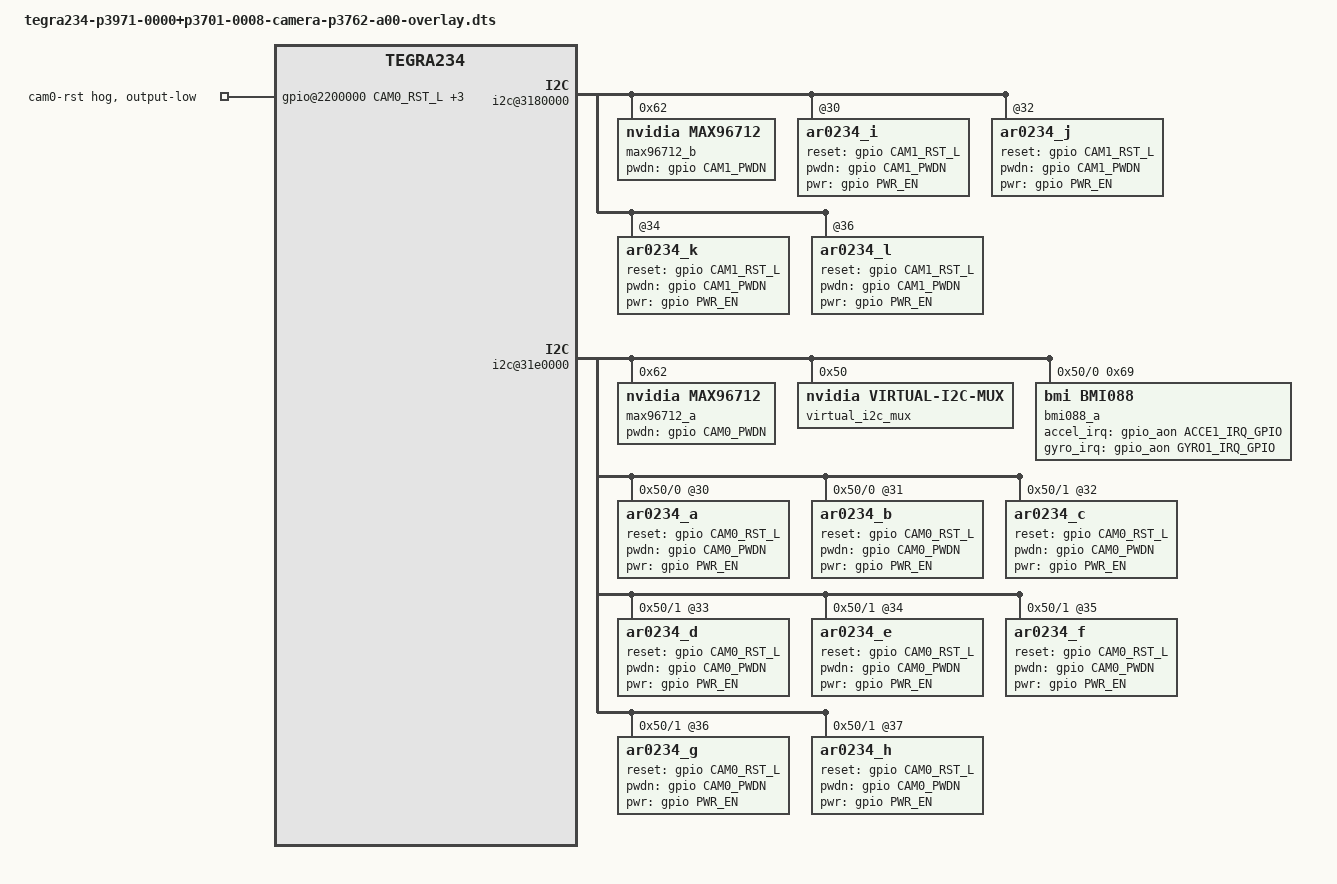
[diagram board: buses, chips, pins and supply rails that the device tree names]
// SPDX-License-Identifier: GPL-2.0-only
// SPDX-FileCopyrightText: Copyright (c) 2024, NVIDIA CORPORATION & AFFILIATES. All rights reserved.

/dts-v1/;
/plugin/;

#include "dt-bindings/gpio/tegra234-gpio.h"
#include "dt-bindings/clock/tegra234-clock.h"
#include "tegra234-camera-p3762-a00.dtsi"

/* camera control gpio definitions */
#define CAM0_RST_L      TEGRA234_MAIN_GPIO(H, 3)
#define CAM0_PWDN       TEGRA234_MAIN_GPIO(E, 6)
#define CAM1_RST_L      TEGRA234_MAIN_GPIO(AC, 1)
#define CAM1_PWDN       TEGRA234_MAIN_GPIO(AC, 0)
#define PWR_EN      	TEGRA234_MAIN_GPIO(AC, 7)
#define GYRO1_IRQ_GPIO  TEGRA234_AON_GPIO(CC, 1)
#define ACCE1_IRQ_GPIO  TEGRA234_AON_GPIO(CC, 0)

/ {
	overlay-name = "Jetson Camera Hawk-Owl p3762 module";
	jetson-header-name = "Jetson AGX CSI Connector";
	compatible = "nvidia,p3971-0000+p3701-0008";

	fragment-camera-hawk-owl@0 {
		target-path = "/";
		__overlay__ {
			bus@0 {
				/* set camera gpio direction to output */
				gpio@2200000 {
					camera-control-output-low {
						gpio-hog;
						output-low;
						gpios = <CAM0_RST_L 0 CAM0_PWDN 0
								CAM1_RST_L 0 CAM1_PWDN 0>;
						label = "cam0-rst", "cam0-pwdn",
								"cam1-rst", "cam1-pwdn";
					};
				};
				i2c@3180000 {
					max96712_b@62 {
						compatible = "nvidia,max96712";
						reg = <0x62>;
						channel = "b";
						pwdn-gpios = <&gpio CAM1_PWDN GPIO_ACTIVE_HIGH>;
						status = "okay";
					};
					ar0234_i@30 {
						status = "okay";
						def-addr = <0x18>;
						/* Define any required hw resources needed by driver */
						/* ie. clocks, io pins, power sources */
						clocks = <&bpmp TEGRA234_CLK_EXTPERIPH1>,
								<&bpmp TEGRA234_CLK_EXTPERIPH1>;
						clock-names = "extperiph1", "pllp_grtba";
						mclk = "extperiph1";
						channel = "b";
						has-eeprom;
						eeprom-addr = <0x38>;
						reset-gpios = <&gpio CAM1_RST_L GPIO_ACTIVE_HIGH>;
						pwdn-gpios = <&gpio CAM1_PWDN GPIO_ACTIVE_HIGH>;
						pwr-gpios = <&gpio PWR_EN GPIO_ACTIVE_HIGH>;
					};
					ar0234_j@32 {
						status = "okay";
						def-addr = <0x18>;
						/* Define any required hw resources needed by driver */
						/* ie. clocks, io pins, power sources */
						clocks = <&bpmp TEGRA234_CLK_EXTPERIPH1>,
								<&bpmp TEGRA234_CLK_EXTPERIPH1>;
						clock-names = "extperiph1", "pllp_grtba";
						mclk = "extperiph1";
						channel = "b";
						has-eeprom;
						eeprom-addr = <0x3a>;
						reset-gpios = <&gpio CAM1_RST_L GPIO_ACTIVE_HIGH>;
						pwdn-gpios = <&gpio CAM1_PWDN GPIO_ACTIVE_HIGH>;
						pwr-gpios = <&gpio PWR_EN GPIO_ACTIVE_HIGH>;
					};
					ar0234_k@34 {
						status = "okay";
						def-addr = <0x18>;
						/* Define any required hw resources needed by driver */
						/* ie. clocks, io pins, power sources */
						clocks = <&bpmp TEGRA234_CLK_EXTPERIPH1>,
								<&bpmp TEGRA234_CLK_EXTPERIPH1>;
						clock-names = "extperiph1", "pllp_grtba";
						mclk = "extperiph1";
						channel = "b";
						has-eeprom;
						eeprom-addr = <0x3c>;
						reset-gpios = <&gpio CAM1_RST_L GPIO_ACTIVE_HIGH>;
						pwdn-gpios = <&gpio CAM1_PWDN GPIO_ACTIVE_HIGH>;
						pwr-gpios = <&gpio PWR_EN GPIO_ACTIVE_HIGH>;
					};
					ar0234_l@36 {
						status = "okay";
						def-addr = <0x18>;
						/* Define any required hw resources needed by driver */
						/* ie. clocks, io pins, power sources */
						clocks = <&bpmp TEGRA234_CLK_EXTPERIPH1>,
								<&bpmp TEGRA234_CLK_EXTPERIPH1>;
						clock-names = "extperiph1", "pllp_grtba";
						mclk = "extperiph1";
						channel = "b";
						has-eeprom;
						eeprom-addr = <0x3e>;
						reset-gpios = <&gpio CAM1_RST_L GPIO_ACTIVE_HIGH>;
						pwdn-gpios = <&gpio CAM1_PWDN GPIO_ACTIVE_HIGH>;
						pwr-gpios = <&gpio PWR_EN GPIO_ACTIVE_HIGH>;
					};
				};
				i2c@31e0000 {
					max96712_a@62 {
						compatible = "nvidia,max96712";
						reg = <0x62>;
						channel = "a";
						pwdn-gpios = <&gpio CAM0_PWDN GPIO_ACTIVE_HIGH>;
						status = "okay";
					};
					virtual_i2c_mux@50 {
						reg = <0x50>;
						compatible = "nvidia,virtual-i2c-mux";
						#address-cells = <1>;
						#size-cells = <0>;
						i2c-parent = <&dp_aux_ch3_i2c>;
						status = "okay";

						i2c@0 {
							reg = <0>;
							i2c-mux,deselect-on-exit;
							#address-cells = <1>;
							#size-cells = <0>;

							bmi088_a@69 {
								compatible = "bmi,bmi088";
								reg = <0x69>;
								accel_i2c_addr = <0x19>;
								/* Old BMI088 driver uses *_gpio property and the latest
								 * BMI088 driver uses *-gpios property. Have both versions
								 * to maintain backward compatibility.
								 */
								accel_irq_gpio = <&gpio_aon ACCE1_IRQ_GPIO GPIO_ACTIVE_HIGH>;
								gyro_irq_gpio = <&gpio_aon GYRO1_IRQ_GPIO GPIO_ACTIVE_HIGH>;
								accel_irq-gpios = <&gpio_aon ACCE1_IRQ_GPIO GPIO_ACTIVE_HIGH>;
								gyro_irq-gpios = <&gpio_aon GYRO1_IRQ_GPIO GPIO_ACTIVE_HIGH>;
								accel_matrix = [01 00 00 00 01 00 00 00 01];
								gyro_matrix = [01 00 00 00 01 00 00 00 01];
								gyro_reg_0x18 = <0x81>;
								timestamps = <&hte_aon ACCE1_IRQ_GPIO>, <&hte_aon GYRO1_IRQ_GPIO>;
								timestamp-names = "accelerometer", "gyroscope";
								status = "okay";
							};
							ar0234_a@30 {
								status = "okay";
								def-addr = <0x10>;
								/* Define any required hw resources needed by driver */
								/* ie. clocks, io pins, power sources */
								clocks = <&bpmp TEGRA234_CLK_EXTPERIPH1>,
										<&bpmp TEGRA234_CLK_EXTPERIPH1>;
								clock-names = "extperiph1", "pllp_grtba";
								mclk = "extperiph1";
								channel = "a";
								has-eeprom;
								eeprom-addr = <0x40>;
								reset-gpios = <&gpio CAM0_RST_L GPIO_ACTIVE_HIGH>;
								pwdn-gpios = <&gpio CAM0_PWDN GPIO_ACTIVE_HIGH>;
								pwr-gpios = <&gpio PWR_EN GPIO_ACTIVE_HIGH>;
							};
							ar0234_b@31 {
								status = "okay";
								def-addr = <0x18>;
								/* Define any required hw resources needed by driver */
								/* ie. clocks, io pins, power sources */
								clocks = <&bpmp TEGRA234_CLK_EXTPERIPH1>,
										<&bpmp TEGRA234_CLK_EXTPERIPH1>;
								clock-names = "extperiph1", "pllp_grtba";
								mclk = "extperiph1";
								channel = "a";
								has-eeprom;
								eeprom-addr = <0x40>;
								reset-gpios = <&gpio CAM0_RST_L GPIO_ACTIVE_HIGH>;
								pwdn-gpios = <&gpio CAM0_PWDN GPIO_ACTIVE_HIGH>;
								pwr-gpios = <&gpio PWR_EN GPIO_ACTIVE_HIGH>;
							};
						};
						i2c@1 {
							reg = <1>;
							i2c-mux,deselect-on-exit;
							#address-cells = <1>;
							#size-cells = <0>;
							ar0234_c@32 {
								status = "okay";
								def-addr = <0x10>;
								/* Define any required hw resources needed by driver */
								/* ie. clocks, io pins, power sources */
								clocks = <&bpmp TEGRA234_CLK_EXTPERIPH1>,
										<&bpmp TEGRA234_CLK_EXTPERIPH1>;
								clock-names = "extperiph1", "pllp_grtba";
								mclk = "extperiph1";
								channel = "a";
								has-eeprom;
								eeprom-addr = <0x15>;
								reset-gpios = <&gpio CAM0_RST_L GPIO_ACTIVE_HIGH>;
								pwdn-gpios = <&gpio CAM0_PWDN GPIO_ACTIVE_HIGH>;
								pwr-gpios = <&gpio PWR_EN GPIO_ACTIVE_HIGH>;
							};
							ar0234_d@33 {
								status = "okay";
								def-addr = <0x18>;
								/* Define any required hw resources needed by driver */
								/* ie. clocks, io pins, power sources */
								clocks = <&bpmp TEGRA234_CLK_EXTPERIPH1>,
										<&bpmp TEGRA234_CLK_EXTPERIPH1>;
								clock-names = "extperiph1", "pllp_grtba";
								mclk = "extperiph1";
								channel = "a";
								has-eeprom;
								eeprom-addr = <0x15>;
								reset-gpios = <&gpio CAM0_RST_L GPIO_ACTIVE_HIGH>;
								pwdn-gpios = <&gpio CAM0_PWDN GPIO_ACTIVE_HIGH>;
								pwr-gpios = <&gpio PWR_EN GPIO_ACTIVE_HIGH>;
							};
							ar0234_e@34 {
								status = "okay";
								def-addr = <0x10>;
								/* Define any required hw resources needed by driver */
								/* ie. clocks, io pins, power sources */
								clocks = <&bpmp TEGRA234_CLK_EXTPERIPH1>,
										<&bpmp TEGRA234_CLK_EXTPERIPH1>;
								clock-names = "extperiph1", "pllp_grtba";
								mclk = "extperiph1";
								channel = "a";
								has-eeprom;
								eeprom-addr = <0x44>;
								reset-gpios = <&gpio CAM0_RST_L GPIO_ACTIVE_HIGH>;
								pwdn-gpios = <&gpio CAM0_PWDN GPIO_ACTIVE_HIGH>;
								pwr-gpios = <&gpio PWR_EN GPIO_ACTIVE_HIGH>;
							};
							ar0234_f@35 {
								status = "okay";
								def-addr = <0x18>;
								/* Define any required hw resources needed by driver */
								/* ie. clocks, io pins, power sources */
								clocks = <&bpmp TEGRA234_CLK_EXTPERIPH1>,
										<&bpmp TEGRA234_CLK_EXTPERIPH1>;
								clock-names = "extperiph1", "pllp_grtba";
								mclk = "extperiph1";
								channel = "a";
								has-eeprom;
								eeprom-addr = <0x44>;
								reset-gpios = <&gpio CAM0_RST_L GPIO_ACTIVE_HIGH>;
								pwdn-gpios = <&gpio CAM0_PWDN GPIO_ACTIVE_HIGH>;
								pwr-gpios = <&gpio PWR_EN GPIO_ACTIVE_HIGH>;
							};
							ar0234_g@36 {
								status = "okay";
								def-addr = <0x10>;
								/* Define any required hw resources needed by driver */
								/* ie. clocks, io pins, power sources */
								clocks = <&bpmp TEGRA234_CLK_EXTPERIPH1>,
										<&bpmp TEGRA234_CLK_EXTPERIPH1>;
								clock-names = "extperiph1", "pllp_grtba";
								mclk = "extperiph1";
								channel = "a";
								has-eeprom;
								eeprom-addr = <0x46>;
								reset-gpios = <&gpio CAM0_RST_L GPIO_ACTIVE_HIGH>;
								pwdn-gpios = <&gpio CAM0_PWDN GPIO_ACTIVE_HIGH>;
								pwr-gpios = <&gpio PWR_EN GPIO_ACTIVE_HIGH>;
							};
							ar0234_h@37 {
								status = "okay";
								def-addr = <0x18>;
								/* Define any required hw resources needed by driver */
								/* ie. clocks, io pins, power sources */
								clocks = <&bpmp TEGRA234_CLK_EXTPERIPH1>,
										<&bpmp TEGRA234_CLK_EXTPERIPH1>;
								clock-names = "extperiph1", "pllp_grtba";
								mclk = "extperiph1";
								channel = "a";
								has-eeprom;
								eeprom-addr = <0x46>;
								reset-gpios = <&gpio CAM0_RST_L GPIO_ACTIVE_HIGH>;
								pwdn-gpios = <&gpio CAM0_PWDN GPIO_ACTIVE_HIGH>;
								pwr-gpios = <&gpio PWR_EN GPIO_ACTIVE_HIGH>;
							};
						};
					};
				};
			};
		};
	};
	fragment-cam-cdi-tsc@0 {
		target-path = "/";
		__overlay__ {
			tsc_sig_gen@c6a0000 {
				status = "okay";
				generator@380 {
					status = "okay";
				};
			};
		};
	};
};
